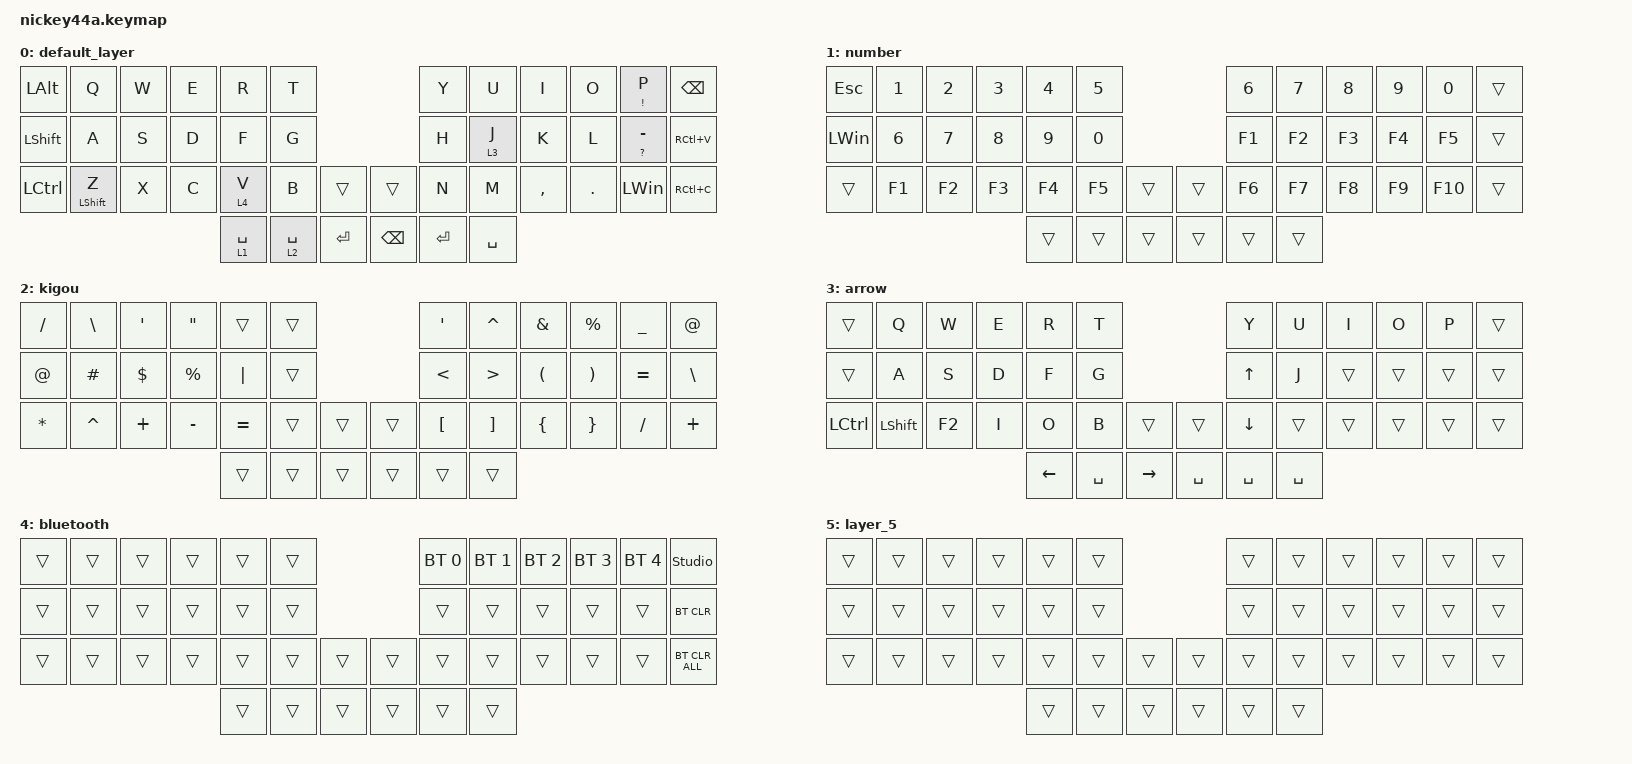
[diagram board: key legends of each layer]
#include <behaviors.dtsi>
#include <dt-bindings/zmk/bt.h>
#include <dt-bindings/zmk/keys.h>

&mt {
    flavor = "balanced";
    quick-tap-ms = <0>;
};

&lt {
    quick-tap-ms = <300>;
    flavor = "balanced";
};

/ {
    combos {
        compatible = "zmk,combos";

        caplock {
            bindings = <&kp CAPSLOCK>;
            key-positions = <16 15>;
        };

        escape {
            bindings = <&kp ESCAPE>;
            key-positions = <0 11>;
        };
    };

    macros {
        to_layer_0: to_layer_0 {
            compatible = "zmk,behavior-macro-one-param";
            #binding-cells = <1>;
            bindings = <&to 0 &macro_param_1to1 &kp MACRO_PLACEHOLDER>;
            label = "TO_LAYER_0";
        };
    };

    behaviors {
        lt_to_layer_0: lt_to_layer_0 {
            compatible = "zmk,behavior-hold-tap";
            label = "LAYER_TAP_TO_0";
            bindings = <&mo>, <&to_layer_0>;

            #binding-cells = <2>;
            tapping-term-ms = <200>;
        };
    };

    keymap {
        compatible = "zmk,keymap";

        default_layer {
            bindings = <
&kp LEFT_ALT      &kp Q             &kp W  &kp E  &kp R        &kp T                               &kp Y    &kp U      &kp I      &kp O    &mt EXCL P          &kp BSPC
&kp LEFT_SHIFT    &kp A             &kp S  &kp D  &kp F        &kp G                               &kp H    &lt 3 J    &kp K      &kp L    &mt QUESTION MINUS  &kp RC(V)
&kp LEFT_CONTROL  &mt LEFT_SHIFT Z  &kp X  &kp C  &lt 4 V      &kp B        &trans       &trans    &kp N    &kp M      &kp COMMA  &kp DOT  &kp LEFT_WIN        &kp RC(C)
                                                  &lt 1 SPACE  &lt 2 SPACE  &kp ENTER    &kp BSPC  &kp RET  &kp SPACE
            >;
        };

        number {
            bindings = <
&kp ESCAPE    &kp N1  &kp N2  &kp N3  &kp N4  &kp N5                    &kp N6  &kp N7  &kp N8  &kp N9  &kp N0   &trans
&kp LEFT_WIN  &kp N6  &kp N7  &kp N8  &kp N9  &kp N0                    &kp F1  &kp F2  &kp F3  &kp F4  &kp F5   &trans
&trans        &kp F1  &kp F2  &kp F3  &kp F4  &kp F5  &trans    &trans  &kp F6  &kp F7  &kp F8  &kp F9  &kp F10  &trans
                                      &trans  &trans  &trans    &trans  &trans  &trans
            >;
        };

        kigou {
            bindings = <
&kp SLASH  &kp BACKSLASH  &kp APOSTROPHE  &kp DOUBLE_QUOTES  &trans     &trans                    &kp APOS          &kp CARET          &kp AMPERSAND         &kp PRCNT              &kp UNDER  &kp AT
&kp AT     &kp HASH       &kp DLLR        &kp PRCNT          &kp PIPE   &trans                    &kp LESS_THAN     &kp GREATER_THAN   &kp LEFT_PARENTHESIS  &kp RIGHT_PARENTHESIS  &kp EQUAL  &kp BSLH
&kp ASTRK  &kp CARET      &kp PLUS        &kp MINUS          &kp EQUAL  &trans  &trans    &trans  &kp LEFT_BRACKET  &kp RIGHT_BRACKET  &kp LEFT_BRACE        &kp RIGHT_BRACE        &kp SLASH  &kp PLUS
                                                             &trans     &trans  &trans    &trans  &trans            &trans
            >;
        };

        arrow {
            bindings = <
&trans     &kp Q      &kp W   &kp E  &kp R           &kp T                                    &kp Y           &kp U      &kp I   &kp O   &kp P   &trans
&trans     &kp A      &kp S   &kp D  &kp F           &kp G                                    &kp UP_ARROW    &kp J      &trans  &trans  &trans  &trans
&kp LCTRL  &kp LSHFT  &kp F2  &kp I  &kp O           &kp B      &trans             &trans     &kp DOWN_ARROW  &trans     &trans  &trans  &trans  &trans
                                     &kp LEFT_ARROW  &kp SPACE  &kp RIGHT_ARROW    &kp SPACE  &kp SPACE       &kp SPACE
            >;
        };

        bluetooth {
            bindings = <
&trans  &trans  &trans  &trans  &trans  &trans                    &bt BT_SEL 0  &bt BT_SEL 1  &bt BT_SEL 2  &bt BT_SEL 3  &bt BT_SEL 4  &studio_unlock
&trans  &trans  &trans  &trans  &trans  &trans                    &trans        &trans        &trans        &trans        &trans        &bt BT_CLR
&trans  &trans  &trans  &trans  &trans  &trans  &trans    &trans  &trans        &trans        &trans        &trans        &trans        &bt BT_CLR_ALL
                                &trans  &trans  &trans    &trans  &trans        &trans
            >;
        };

        layer_5 {
            bindings = <
&trans  &trans  &trans  &trans  &trans  &trans                    &trans  &trans  &trans  &trans  &trans  &trans
&trans  &trans  &trans  &trans  &trans  &trans                    &trans  &trans  &trans  &trans  &trans  &trans
&trans  &trans  &trans  &trans  &trans  &trans  &trans    &trans  &trans  &trans  &trans  &trans  &trans  &trans
                                &trans  &trans  &trans    &trans  &trans  &trans
            >;
        };
    };
};
